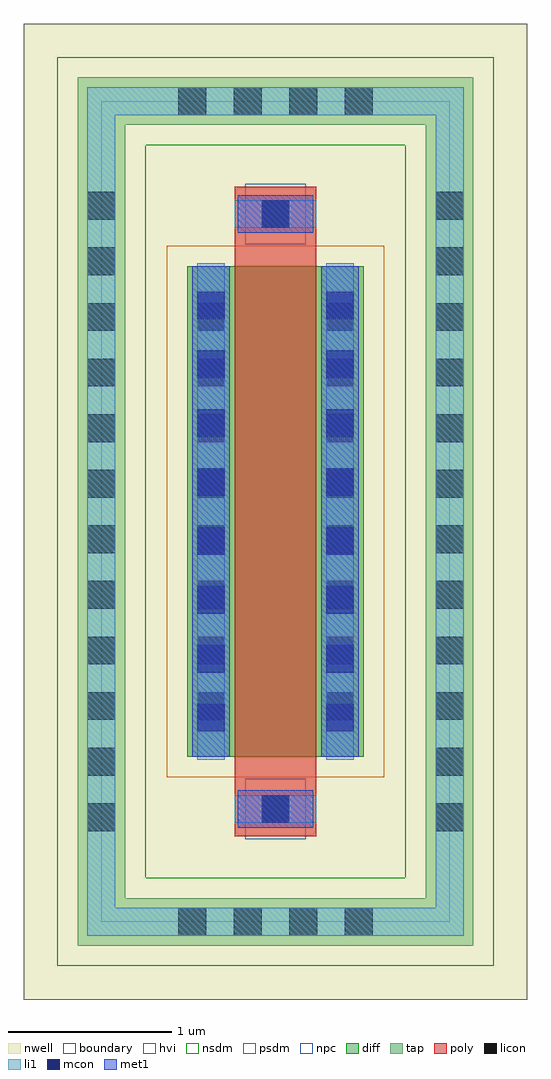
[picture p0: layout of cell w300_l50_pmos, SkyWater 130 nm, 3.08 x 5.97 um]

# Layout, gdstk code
import gdstk
lib = gdstk.Library(unit=1e-6, precision=1e-09)
def R(c, l, rs):  # rectangles x0, y0, x1, y1
    for r in rs: c.add(gdstk.rectangle(r[:2], r[2:], *l))
def A(c, l, x, y, w, h, nx, ny, dx, dy):  # array of equal rectangles
    R(c, l, [(x+i*dx, y+j*dy, x+i*dx+w, y+j*dy+h) for i in range(nx) for j in range(ny)])
nwell = (64, 20)
diff = (65, 20)
tap = (65, 44)
poly = (66, 20)
licon = (66, 44)
li1 = (67, 20)
mcon = (67, 44)
met1 = (68, 20)
hvi = (75, 20)
nsdm = (93, 44)
psdm = (94, 20)
npc = (95, 20)
boundary = (235, 4)

sky130_fd_pr__pfet_g5v0d = lib.new_cell('sky130_fd_pr__pfet_g5v0d10v5')

w300_l50_pmos = lib.new_cell('w300_l50_pmos')
R(w300_l50_pmos, nwell, [(-1.54,-2.985,1.54,2.985)])
R(w300_l50_pmos, diff, [(-0.54,-1.5,0.54,1.5)])
R(w300_l50_pmos, tap, [(-1.21,-2.655,1.21,-2.365), (-1.21,-2.365,-0.92,2.365), (0.92,-2.365,1.21,2.365), (-1.21,2.365,1.21,2.655)])
R(w300_l50_pmos, poly, [(-0.25,-1.985,0.25,1.985)])
A(w300_l50_pmos, licon, -0.595, -2.595, 0.17, 0.17, 4, 2, 0.34, 5.02)
A(w300_l50_pmos, licon, -1.15, -1.955, 0.17, 0.17, 1, 12, 0, 0.34)
A(w300_l50_pmos, licon, 0.98, -1.955, 0.17, 0.17, 1, 12, 0, 0.34)
A(w300_l50_pmos, licon, -0.48, -1.275, 0.17, 0.17, 1, 8, 0, 0.34)
A(w300_l50_pmos, licon, 0.31, -1.275, 0.17, 0.17, 1, 8, 0, 0.34)
R(w300_l50_pmos, licon, [(-0.085,-1.905,0.085,-1.735), (-0.085,1.735,0.085,1.905)])
R(w300_l50_pmos, li1, [(-1.15,-2.595,1.15,-2.425), (-1.15,-2.425,-0.98,2.425), (0.98,-2.425,1.15,2.425), (-0.25,-1.905,0.25,-1.735), (-0.48,-1.52,-0.31,1.52), (0.31,-1.52,0.48,1.52), (-0.25,1.735,0.25,1.905), (-1.15,2.425,1.15,2.595)])
A(w300_l50_pmos, mcon, -0.48, -1.345, 0.17, 0.17, 1, 8, 0, 0.36)
A(w300_l50_pmos, mcon, 0.31, -1.345, 0.17, 0.17, 1, 8, 0, 0.36)
R(w300_l50_pmos, mcon, [(-0.085,-1.905,0.085,-1.735), (-0.085,1.735,0.085,1.905)])
R(w300_l50_pmos, met1, [(-0.23,-1.935,0.23,-1.705), (-0.51,-1.5,-0.28,1.5), (0.28,-1.5,0.51,1.5), (-0.23,1.705,0.23,1.935)])
R(w300_l50_pmos, hvi, [(-1.54,-2.985,1.54,2.985)])
R(w300_l50_pmos, nsdm, [(-1.335,-2.78,1.335,-2.24), (-1.335,-2.24,-0.795,2.24), (0.795,-2.24,1.335,2.24), (-1.335,2.24,1.335,2.78)])
R(w300_l50_pmos, psdm, [(-0.665,-1.625,0.665,1.625)])
R(w300_l50_pmos, npc, [(-0.185,-2.005,0.185,-1.635), (-0.185,1.635,0.185,2.005)])
R(w300_l50_pmos, boundary, [(-1.065,-2.51,1.065,2.51)])
w300_l50_pmos.add(gdstk.Reference(sky130_fd_pr__pfet_g5v0d, (0,0)))

lib.write_gds('w300_l50_pmos.gds')
